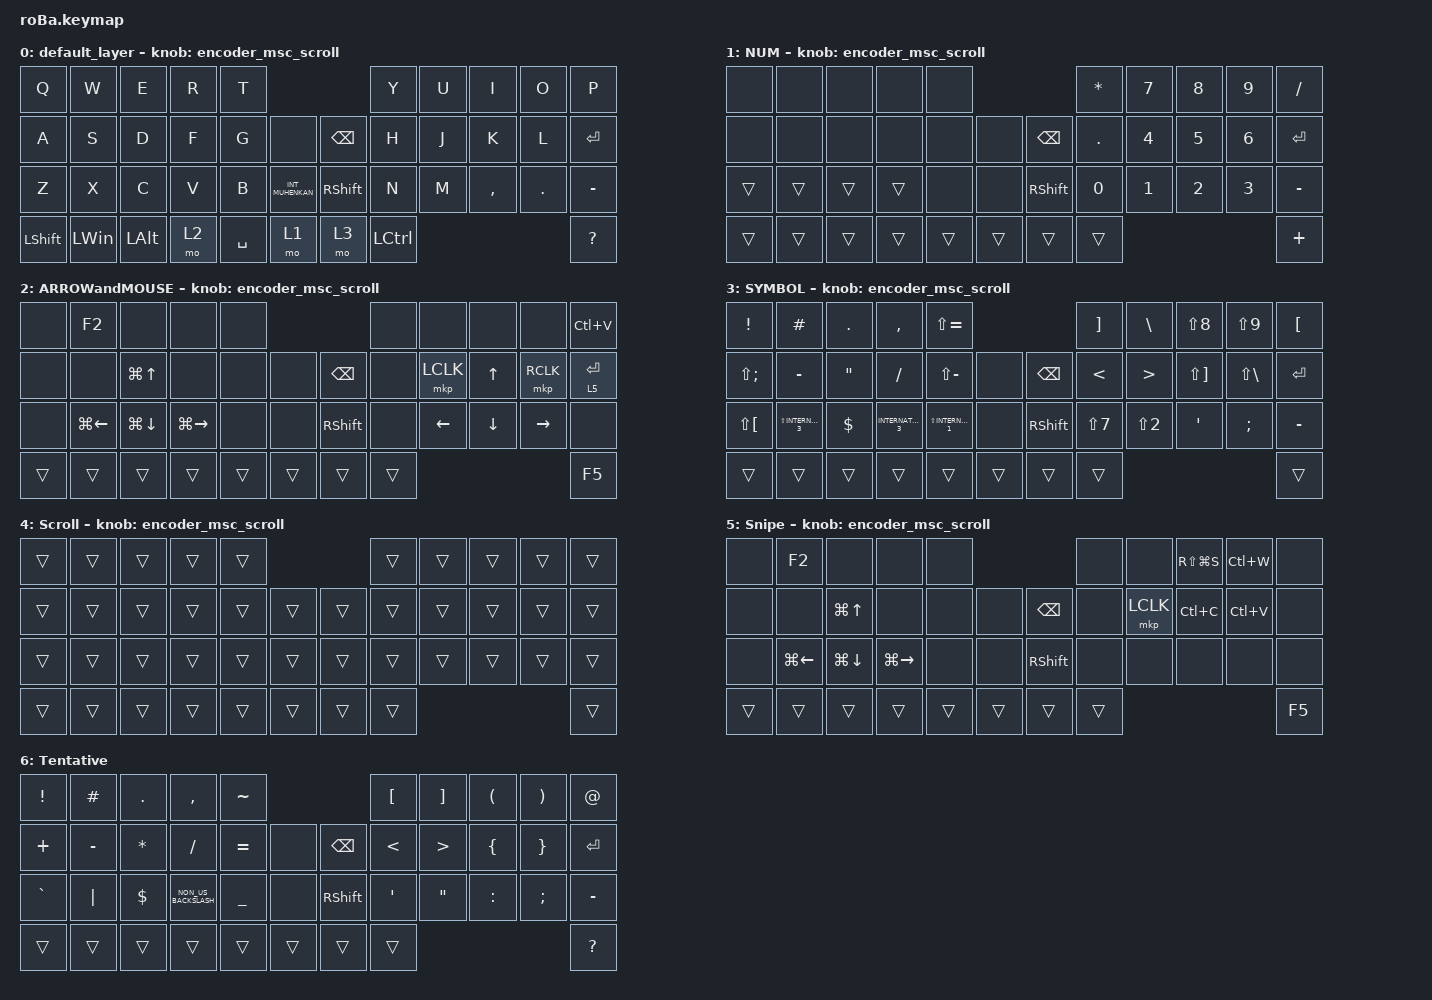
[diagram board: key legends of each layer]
#define ZMK_POINTING_DEFAULT_SCRL_VAL 100

#include <behaviors.dtsi>
#include <dt-bindings/zmk/keys.h>
#include <dt-bindings/zmk/pointing.h>

&mt {
    flavor = "balanced";
    quick-tap-ms = <0>;
};

&trackball {
    automouse-layer = <2>;
    scroll-layers = <4>;

    // arrows {
    //     layers = <3>;
    //     bindings =
    //         <&kp RIGHT_ARROW>,
    //         <&kp LEFT_ARROW>,
    //         <&kp UP_ARROW>,
    //         <&kp DOWN_ARROW>;
    //     tick = <10>;
    //     wait-ms = <5>;
    //     tap-ms = <5>;
    // };
};

/ {
    combos {
        compatible = "zmk,combos";

        Esc {
            bindings = <&kp ESCAPE>;
            key-positions = <0 1 2>;
        };

        Hankaku_Zenkaku {
            bindings = <&kp LANG_ZENKAKUHANKAKU>;
            key-positions = <1 0>;
        };

        Tab {
            bindings = <&to_layer_0 TAB>;
            key-positions = <11 10>;
        };

        Hankaku_katakana {
            bindings = <&kp F8>;
            key-positions = <5 6>;
        };

        Zenkaku_alphabet {
            bindings = <&kp F9>;
            key-positions = <6 7>;
        };

        Hankaku_alhabet {
            bindings = <&kp F10>;
            key-positions = <8 7>;
        };

        forth_layer {
            bindings = <&mo 4>;
            key-positions = <20 21>;
        };

        Delete {
            bindings = <&kp DELETE>;
            key-positions = <9 8 7>;
        };

        PageUp {
            bindings = <&kp PAGE_UP>;
            key-positions = <19 18>;
        };

        PageDown {
            bindings = <&kp PAGE_DOWN>;
            key-positions = <19 20>;
        };
    };

    macros {
        to_layer_0: to_layer_0 {
            compatible = "zmk,behavior-macro-one-param";
            #binding-cells = <1>;
            bindings = <&to 0 &macro_param_1to1 &kp MACRO_PLACEHOLDER>;
            label = "TO_LAYER_0";
        };
    };

    behaviors {
        lt_to_layer_0: lt_to_layer_0 {
            compatible = "zmk,behavior-hold-tap";
            label = "LAYER_TAP_TO_0";
            bindings = <&mo>, <&to_layer_0>;

            #binding-cells = <2>;
            tapping-term-ms = <200>;
        };

        encoder_msc_scroll: encoder_msc_scroll {
            compatible = "zmk,behavior-sensor-rotate";
            label = "ENCODER_MSC_SCROLL";
            #sensor-binding-cells = <0>;
            bindings = <&msc SCRL_DOWN>, <&msc SCRL_UP>;

            tap-ms = <20>;
        };
    };

    keymap {
        compatible = "zmk,keymap";

        default_layer {
            bindings = <
&kp Q           &kp W         &kp E         &kp R  &kp T                                             &kp Y             &kp U  &kp I      &kp O    &kp P
&kp A           &kp S         &kp D         &kp F  &kp G      &none                 &kp BACKSPACE    &kp H             &kp J  &kp K      &kp L    &kp ENTER
&kp Z           &kp X         &kp C         &kp V  &kp B      &kp INT_MUHENKAN      &kp RIGHT_SHIFT  &kp N             &kp M  &kp COMMA  &kp DOT  &kp MINUS
&kp LEFT_SHIFT  &kp LEFT_WIN  &kp LEFT_ALT  &mo 2  &kp SPACE  &mo 1                 &mo 3            &kp LEFT_CONTROL                             &kp QUESTION
            >;

            sensor-bindings = <&encoder_msc_scroll>;
        };

        NUM {
            bindings = <
&none   &none   &none   &none   &none                                &kp ASTERISK  &kp NUMBER_7  &kp NUMBER_8  &kp NUMBER_9  &kp SLASH
&none   &none   &none   &none   &none   &none       &kp BACKSPACE    &kp PERIOD    &kp NUMBER_4  &kp NUMBER_5  &kp NUMBER_6  &kp ENTER
&trans  &trans  &trans  &trans  &none   &none       &kp RIGHT_SHIFT  &kp N0        &kp NUMBER_1  &kp NUMBER_2  &kp NUMBER_3  &kp MINUS
&trans  &trans  &trans  &trans  &trans  &trans      &trans           &trans                                                  &kp PLUS
            >;

            sensor-bindings = <&encoder_msc_scroll>;
        };

        ARROWandMOUSE {
            bindings = <
&none   &kp F2              &none               &none                &none                                &none   &none           &none           &none            &kp LC(V)
&none   &none               &kp LG(UP_ARROW)    &none                &none   &none       &kp BACKSPACE    &none   &mkp LCLK       &kp UP_ARROW    &mkp RCLK        &lt 5 ENTER
&none   &kp LG(LEFT_ARROW)  &kp LG(DOWN_ARROW)  &kp LG(RIGHT_ARROW)  &none   &none       &kp RIGHT_SHIFT  &none   &kp LEFT_ARROW  &kp DOWN_ARROW  &kp RIGHT_ARROW  &none
&trans  &trans              &trans              &trans               &trans  &trans      &trans           &trans                                                   &kp F5
            >;

            sensor-bindings = <&encoder_msc_scroll>;
        };

        SYMBOL {
            bindings = <
&kp EXCLAMATION       &kp HASH                 &kp PERIOD         &kp COMMA            &kp LS(EQUAL)                                         &kp RIGHT_BRACKET  &kp BACKSLASH     &kp LS(NUMBER_8)       &kp LS(NUMBER_9)   &kp LEFT_BRACKET
&kp LS(SEMICOLON)     &kp MINUS                &kp DOUBLE_QUOTES  &kp SLASH            &kp LS(MINUS)            &none       &kp BACKSPACE    &kp LESS_THAN      &kp GREATER_THAN  &kp LS(RIGHT_BRACKET)  &kp LS(BACKSLASH)  &kp ENTER
&kp LS(LEFT_BRACKET)  &kp LS(INTERNATIONAL_3)  &kp DOLLAR         &kp INTERNATIONAL_3  &kp LS(INTERNATIONAL_1)  &none       &kp RIGHT_SHIFT  &kp LS(NUMBER_7)   &kp LS(NUMBER_2)  &kp SINGLE_QUOTE       &kp SEMICOLON      &kp MINUS
&trans                &trans                   &trans             &trans               &trans                   &trans      &trans           &trans                                                                         &trans
            >;

            sensor-bindings = <&encoder_msc_scroll>;
        };

        Scroll {
            bindings = <
&trans  &trans  &trans  &trans  &trans                      &trans  &trans  &trans  &trans  &trans
&trans  &trans  &trans  &trans  &trans  &trans      &trans  &trans  &trans  &trans  &trans  &trans
&trans  &trans  &trans  &trans  &trans  &trans      &trans  &trans  &trans  &trans  &trans  &trans
&trans  &trans  &trans  &trans  &trans  &trans      &trans  &trans                          &trans
            >;

            sensor-bindings = <&encoder_msc_scroll>;
        };

        Snipe {
            bindings = <
&none   &kp F2              &none               &none                &none                                &none   &none      &kp RS(LG(S))  &kp LC(W)  &none
&none   &none               &kp LG(UP_ARROW)    &none                &none   &none       &kp BACKSPACE    &none   &mkp LCLK  &kp LC(C)      &kp LC(V)  &none
&none   &kp LG(LEFT_ARROW)  &kp LG(DOWN_ARROW)  &kp LG(RIGHT_ARROW)  &none   &none       &kp RIGHT_SHIFT  &none   &none      &none          &none      &none
&trans  &trans              &trans              &trans               &trans  &trans      &trans           &trans                                       &kp F5
            >;

            sensor-bindings = <&encoder_msc_scroll>;
        };

        Tentative {
            bindings = <
&kp EXCLAMATION  &kp HASH   &kp PERIOD    &kp COMMA             &kp TILDE                                    &kp LEFT_BRACKET  &kp RIGHT_BRACKET  &kp LEFT_PARENTHESIS  &kp RIGHT_PARENTHESIS  &kp AT_SIGN
&kp PLUS         &kp MINUS  &kp ASTERISK  &kp SLASH             &kp EQUAL       &none       &kp BACKSPACE    &kp LESS_THAN     &kp GREATER_THAN   &kp LEFT_BRACE        &kp RIGHT_BRACE        &kp ENTER
&kp GRAVE        &kp PIPE   &kp DOLLAR    &kp NON_US_BACKSLASH  &kp UNDERSCORE  &none       &kp RIGHT_SHIFT  &kp SQT           &kp DOUBLE_QUOTES  &kp COLON             &kp SEMI               &kp MINUS
&trans           &trans     &trans        &trans                &trans          &trans      &trans           &trans                                                                            &kp QUESTION
            >;
        };
    };
};
